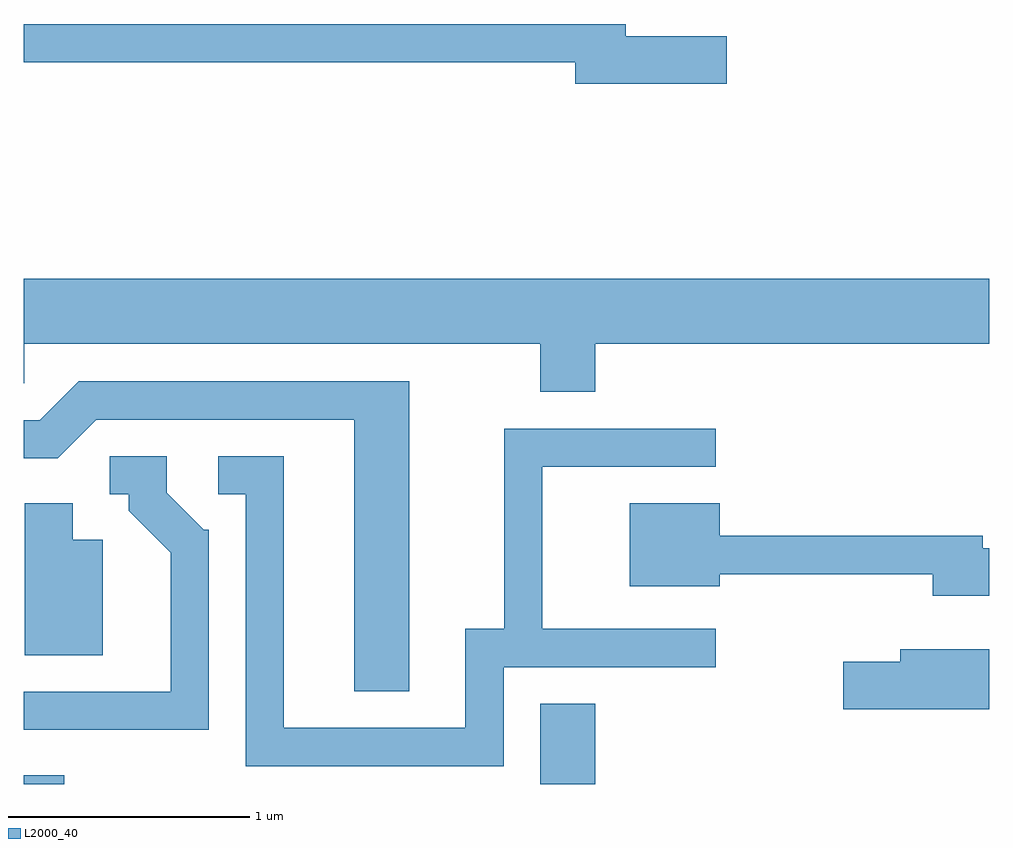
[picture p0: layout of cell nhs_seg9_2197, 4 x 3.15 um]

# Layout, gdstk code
import gdstk
lib = gdstk.Library(unit=1e-6, precision=1e-09)
def R(c, l, rs):  # rectangles x0, y0, x1, y1
    for r in rs: c.add(gdstk.rectangle(r[:2], r[2:], *l))
def P(c, l, *ps):  # polygons
    for p in ps: c.add(gdstk.Polygon(p, *l))
L2000_40 = (2000, 40)

nhs_seg9_2197 = lib.new_cell('nhs_seg9_2197')
R(nhs_seg9_2197, L2000_40, [(249.611,1994.432,249.779,1994.469), (251.751,1994.432,251.979,1994.764)])
P(nhs_seg9_2197, L2000_40, [(252.524,1997.529),(252.104,1997.529),(252.104,1997.579),(249.611,1997.579),(249.611,1997.421),(251.896,1997.421),(251.896,1997.331),(252.524,1997.331)],
  [(251.979,1996.256),(253.611,1996.256),(253.611,1996.524),(249.611,1996.524),(249.611,1996.091),(249.614,1996.091),(249.614,1996.256),(251.751,1996.256),(251.751,1996.056),(251.979,1996.056)],
  [(251.209,1996.099),(249.839,1996.099),(249.679,1995.939),(249.611,1995.939),(249.611,1995.781),(249.752,1995.781),(249.912,1995.941),(250.981,1995.941),(250.981,1994.816),(251.209,1994.816)],
  [(251.599,1994.916),(252.478,1994.916),(252.478,1995.074),(251.759,1995.074),(251.759,1995.746),(252.478,1995.746),(252.478,1995.904),(251.601,1995.904),(251.601,1995.074),(251.441,1995.074),(251.441,1994.664),(250.689,1994.664),(250.689,1995.789),(250.418,1995.789),(250.418,1995.631),(250.531,1995.631),(250.531,1994.506),(251.599,1994.506)],
  [(250.379,1995.484),(250.357,1995.484),(250.204,1995.637),(250.204,1995.789),(249.968,1995.789),(249.968,1995.631),(250.046,1995.631),(250.046,1995.564),(250.221,1995.389),(250.221,1994.814),(249.611,1994.814),(249.611,1994.656),(250.379,1994.656)],
  [(253.611,1995.409),(253.584,1995.409),(253.584,1995.459),(252.494,1995.459),(252.494,1995.594),(252.121,1995.594),(252.121,1995.251),(252.494,1995.251),(252.494,1995.301),(253.376,1995.301),(253.376,1995.211),(253.611,1995.211)],
  [(249.939,1995.444),(249.814,1995.444),(249.814,1995.594),(249.616,1995.594),(249.616,1994.966),(249.939,1994.966)],
  [(253.611,1994.989),(253.241,1994.989),(253.241,1994.939),(253.006,1994.939),(253.006,1994.741),(253.611,1994.741)])

lib.write_gds('nhs_seg9_2197.gds')
